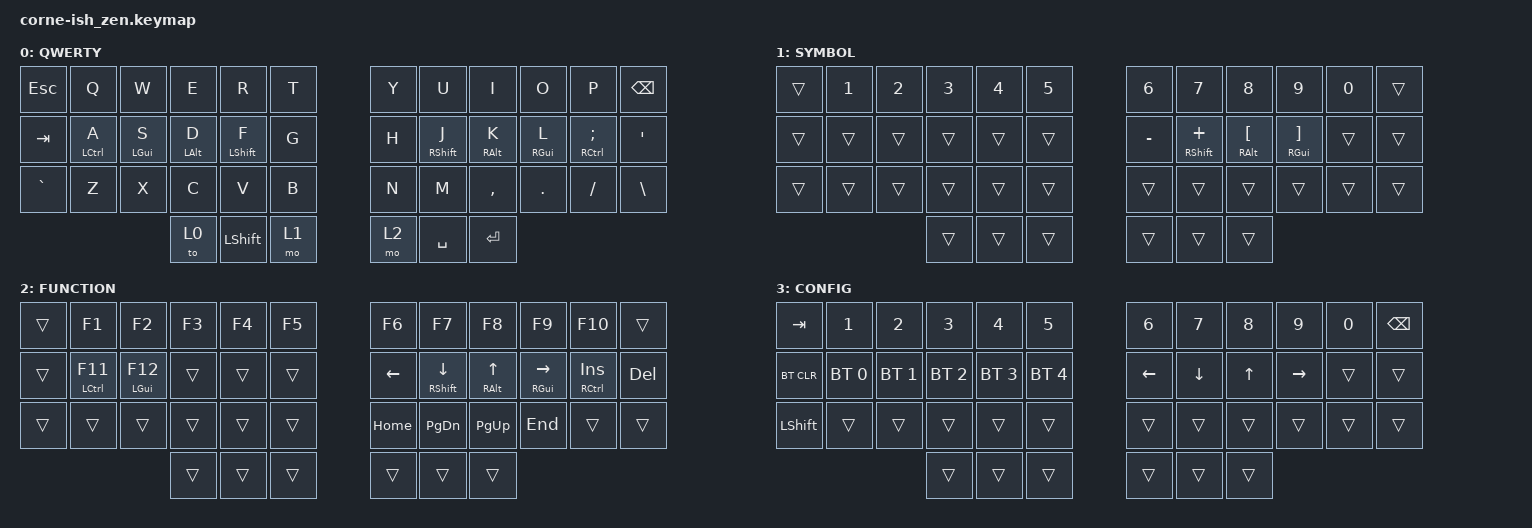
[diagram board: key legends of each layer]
/*
*
* Copyright (c) 2021 Darryl deHaan
* SPDX-License-Identifier: MIT
*
*/

#include <behaviors.dtsi>
#include <dt-bindings/zmk/keys.h>
#include <dt-bindings/zmk/bt.h>

/ {
        behaviors {
                bhm: balanced_homerow_mods {
                        compatible = "zmk,behavior-hold-tap";
                        label = "HOMEROW_MODS";
                        #binding-cells = <2>;
                        tapping-term-ms = <200>;    // <---[[moderate duration]]
                        quick-tap-ms = <125>;
                        flavor = "balanced";
                        bindings = <&kp>, <&kp>;
                        retro-tap;
                };
                gs: gui_special {
                        compatible = "zmk,behavior-hold-tap";
                        label = "GUI_SPECIAL";
                        #binding-cells = <2>;
                        tapping-term-ms = <200>;    // <---[[moderate duration]]
                        quick-tap-ms = <125>;
                        flavor = "balanced";
                        bindings = <&kp>, <&kp>;
                };
        };

        conditional_layers {
                compatible = "zmk,conditional-layers";
                tri_layer {
                        if-layers = <1 2>;
                        then-layer = <3>;
                };
        };

        keymap {
                compatible = "zmk,keymap";

                default_layer {
                        label = "QWERTY";
// -----------------------------------------------------------------------------------------
// |  TAB |  Q  |  W  |  E  |  R  |  T  |   |  Y  |  U   |  I  |  O  |  P  | BKSP |
// | CTRL |  A  |  S  |  D  |  F  |  G  |   |  H  |  J   |  K  |  L  |  ;  |  '   |
// | SHFT |  Z  |  X  |  C  |  V  |  B  |   |  N  |  M   |  ,  |  .  |  /  | ESC  |
//                    | GUI | LWR | SPC |   | ENT | RSE  | ALT |
                        bindings = <
   &kp ESC  &kp Q &kp W &kp E &kp R &kp T   &kp Y &kp U  &kp I     &kp O   &kp P    &kp BSPC
   &kp TAB &bhm LCTRL A &gs LGUI S &bhm LALT D &bhm LSHIFT F &kp G   &kp H &bhm RSHIFT J  &bhm RALT K  &gs RGUI L   &bhm RCTRL SEMI &kp SQT
   &kp GRAVE &kp Z &kp X &kp C &kp V &kp B   &kp N &kp M  &kp COMMA &kp DOT &kp FSLH &kp BSLH
                  &to 0 &kp LSHIFT &mo 1   &mo 2 &kp SPACE &kp RET
                        >;
                };
                lower_layer {
                        label = "SYMBOL";
                        bindings = <
        &trans    &kp NUMBER_1       &kp NUMBER_2       &kp NUMBER_3       &kp NUMBER_4       &kp NUMBER_5         &kp NUMBER_6   &kp NUMBER_7   &kp NUMBER_8 &kp NUMBER_9    &kp NUMBER_0 &trans
        &trans  &trans       &trans       &trans       &trans       &trans         &kp MINUS  &bhm RSHIFT PLUS   &bhm RALT LEFT_BRACKET &gs RGUI RIGHT_BRACKET    &trans &trans
        &trans  &trans       &trans       &trans       &trans       &trans         &trans  &trans       &trans       &trans       &trans       &trans
                        &trans  &trans       &trans       &trans       &trans       &trans
                        >; 
                };
                raise_layer {
                        label = "FUNCTION";
                        bindings = <
        &trans &kp F1 &kp F2 &kp F3 &kp F4 &kp F5 &kp F6 &kp F7 &kp F8 &kp F9 &kp F10 &trans
        &trans &bhm LCTRL F11 &gs LGUI F12 &trans &trans &trans     &kp LEFT &bhm RSHIFT DOWN &bhm RALT UP &gs RGUI RIGHT &bhm RCTRL INS &kp DEL
        &trans  &trans       &trans       &trans       &trans       &trans         &kp HOME  &kp PAGE_DOWN    &kp PAGE_UP      &kp END       &trans       &trans
        &trans  &trans       &trans       &trans       &trans       &trans 
                        >;
                };
                tri_layer {
                        label = "CONFIG";
// -----------------------------------------------------------------------------------------
// |  TAB |  1  |  2  |  3  |  4  |  5  |   |  6  |  7  |  8  |  9  |  0  | BKSP |
// | BTCLR| BT1 | BT2 | BT3 | BT4 | BT5 |   | LFT | DWN |  UP | RGT |     |      |
// | SHFT |     |     |     |     |     |   |     |     |     |     |     |      |
//                    | GUI |     | SPC |   | ENT |     | ALT |
                        bindings = <
   &kp TAB    &kp N1       &kp N2       &kp N3       &kp N4       &kp N5         &kp N6   &kp N7   &kp N8 &kp N9    &kp N0 &kp BSPC
   &bt BT_CLR &bt BT_SEL 0 &bt BT_SEL 1 &bt BT_SEL 2 &bt BT_SEL 3 &bt BT_SEL 4   &kp LEFT &kp DOWN &kp UP &kp RIGHT &trans &trans
   &kp LSHFT  &trans       &trans       &trans       &trans       &trans         &trans   &trans   &trans &trans    &trans &trans
                          	        &trans  &trans       &trans       &trans       &trans       &trans 
                        >;
                };
        };
};
